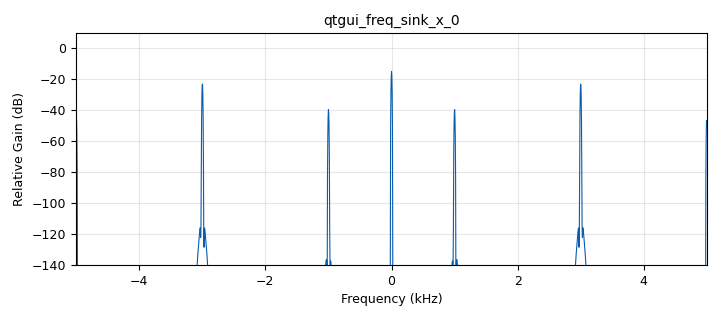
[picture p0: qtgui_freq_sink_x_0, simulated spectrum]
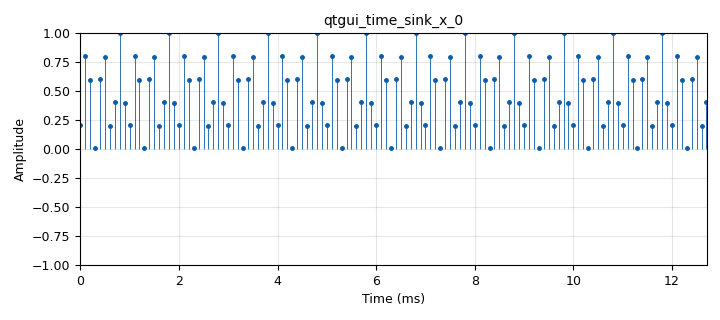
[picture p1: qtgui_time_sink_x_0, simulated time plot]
options:
  parameters:
    author: Michelle_Garzon_Maria_Guerrero_B1A_G5
    generate_options: qt_gui
    id: Lab1_punto3
    output_language: python
    title: Nyquist
  states: {}

blocks:
- name: frequency
  id: variable_qtgui_range
  parameters:
    start: '1000'
    step: '1000'
    stop: '40000'
    value: '3000'
    widget: slider
  states: {}
- name: samp_rate
  id: variable_qtgui_range
  parameters:
    label: Frecuencia de muestreo
    start: '1000'
    step: '1000'
    stop: '80000'
    value: '10000'
    widget: slider
  states: {}
- name: analog_sig_source_x_0
  id: analog_sig_source_x
  parameters:
    amp: '1'
    freq: frequency
    offset: '0'
    phase: '0'
    samp_rate: samp_rate
    type: float
    waveform: analog.GR_TRI_WAVE
  states: {}
- name: blocks_throttle2_0
  id: blocks_throttle2
  parameters:
    samples_per_second: samp_rate
    type: float
  states: {}
- name: qtgui_freq_sink_x_0
  id: qtgui_freq_sink_x
  parameters:
    bw: samp_rate
    fc: '0'
    fftsize: '2048'
    type: float
  states: {}
- name: qtgui_time_sink_x_0
  id: qtgui_time_sink_x
  parameters:
    size: '128'
    srate: samp_rate
    stemplot: 'True'
    type: float
  states: {}

connections:
- [analog_sig_source_x_0, '0', blocks_throttle2_0, '0']
- [blocks_throttle2_0, '0', qtgui_freq_sink_x_0, '0']
- [blocks_throttle2_0, '0', qtgui_time_sink_x_0, '0']

metadata:
  file_format: 1
  grc_version: 3.10.10.0
